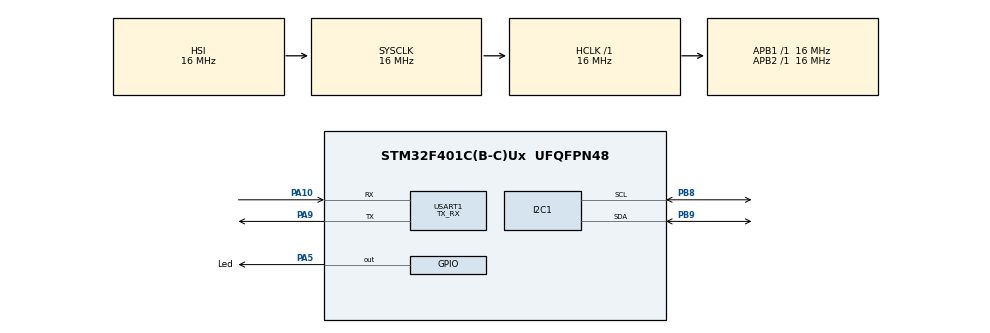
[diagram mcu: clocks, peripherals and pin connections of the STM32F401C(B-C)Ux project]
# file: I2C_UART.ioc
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I2C1.I2C_Mode=I2C_Standard
Mcu.Family=STM32F4
Mcu.Name=STM32F401C(B-C)Ux
Mcu.Package=UFQFPN48
NVIC.PriorityGroup=NVIC_PRIORITYGROUP_4
PA10.Mode=Asynchronous
PA10.Signal=USART1_RX
PA5.GPIO_Label=Led
PA5.Signal=GPIO_Output
PA9.Mode=Asynchronous
PA9.Signal=USART1_TX
PB8.Mode=I2C
PB8.Signal=I2C1_SCL
PB9.Mode=I2C
PB9.Signal=I2C1_SDA
ProjectManager.HeapSize=0x200
ProjectManager.StackSize=0x400
ProjectManager.TargetToolchain=STM32CubeIDE
RCC.48MHZClocksFreq_Value=48000000
RCC.AHBFreq_Value=16000000
RCC.APB1Freq_Value=16000000
RCC.APB1TimCLKDivider=1
RCC.APB1TimFreq_Value=16000000
RCC.APB2Freq_Value=16000000
RCC.APB2TimFreq_Value=16000000
RCC.CortexFreq_Value=16000000
RCC.HCLKFreq_Value=16000000
RCC.HSE_VALUE=25000000
RCC.HSI_VALUE=16000000
RCC.LSE_VALUE=32768
RCC.SYSCLKFreq_VALUE=16000000
RCC.VCOOutputFreq_Value=192000000
USART1.Mode=MODE_TX_RX
USART1.VirtualMode=VM_ASYNC
board=custom

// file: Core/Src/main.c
/* USER CODE BEGIN Header */
/**
  ******************************************************************************
  * @file           : main.c
  * @brief          : Main program body
  ******************************************************************************
  * @attention
  *
  * Copyright (c) 2024 STMicroelectronics.
  * All rights reserved.
  *
  * This software is licensed under terms that can be found in the LICENSE file
  * in the root directory of this software component.
  * If no LICENSE file comes with this software, it is provided AS-IS.
  *
  ******************************************************************************
  */
/* USER CODE END Header */
#include "main.h"

/* USER CODE BEGIN Includes */
#include <stdio.h>
#include <string.h>
/* USER CODE END Includes */

/* USER CODE BEGIN PD */
#define SI7021_ADDRESS 0x40
#define SI7021_MEASURE_TEMP_NO_HOLD 0xF3
#define SI7021_MEASURE_HUM_NO_HOLD 0xF5
#define led_GPIO_Port GPIOA
#define led_Pin GPIO_PIN_5
/* USER CODE END PD */

I2C_HandleTypeDef hi2c1;

UART_HandleTypeDef huart1;

/* USER CODE BEGIN PV */
char uartBuf[50];
/* USER CODE END PV */

void SystemClock_Config(void);
static void MX_GPIO_Init(void);
static void MX_I2C1_Init(void);
static void MX_USART1_UART_Init(void);
/* USER CODE BEGIN PFP */
float readTemperature(void);
float readHumidity(void);
void sendUARTData(float temp, float hum);
void sendSerialWordsAsFloat(void);
/* USER CODE END PFP */

int main(void)
{

  /* MCU Configuration--------------------------------------------------------*/

  /* Reset of all peripherals, Initializes the Flash interface and the Systick. */
  HAL_Init();

  /* Configure the system clock */
  SystemClock_Config();

  /* Initialize all configured peripherals */
  MX_GPIO_Init();
  MX_I2C1_Init();
  MX_USART1_UART_Init();

  /* Infinite loop */
  while (1)
  {

    /* USER CODE BEGIN 3 */
	    float temperature = readTemperature();
	    float humidity = readHumidity();
	    sendUARTData(temperature, humidity);

	    // Send the serial words as floats

	    HAL_Delay(1000); // 1 saniye bekle
	    HAL_GPIO_TogglePin(led_GPIO_Port, led_Pin);
  }
  /* USER CODE END 3 */
}

void SystemClock_Config(void)
{
  RCC_OscInitTypeDef RCC_OscInitStruct = {0};
  RCC_ClkInitTypeDef RCC_ClkInitStruct = {0};

  /** Configure the main internal regulator output voltage
  */
  __HAL_RCC_PWR_CLK_ENABLE();
  __HAL_PWR_VOLTAGESCALING_CONFIG(PWR_REGULATOR_VOLTAGE_SCALE2);

  /** Initializes the RCC Oscillators according to the specified parameters
  * in the RCC_OscInitTypeDef structure.
  */
  RCC_OscInitStruct.OscillatorType = RCC_OSCILLATORTYPE_HSI;
  RCC_OscInitStruct.HSIState = RCC_HSI_ON;
  RCC_OscInitStruct.HSICalibrationValue = RCC_HSICALIBRATION_DEFAULT;
  RCC_OscInitStruct.PLL.PLLState = RCC_PLL_NONE;
  if (HAL_RCC_OscConfig(&RCC_OscInitStruct) != HAL_OK)
  {
    Error_Handler();
  }

  /** Initializes the CPU, AHB and APB buses clocks
  */
  RCC_ClkInitStruct.ClockType = RCC_CLOCKTYPE_HCLK|RCC_CLOCKTYPE_SYSCLK
                              |RCC_CLOCKTYPE_PCLK1|RCC_CLOCKTYPE_PCLK2;
  RCC_ClkInitStruct.SYSCLKSource = RCC_SYSCLKSOURCE_HSI;
  RCC_ClkInitStruct.AHBCLKDivider = RCC_SYSCLK_DIV1;
  RCC_ClkInitStruct.APB1CLKDivider = RCC_HCLK_DIV1;
  RCC_ClkInitStruct.APB2CLKDivider = RCC_HCLK_DIV1;

  if (HAL_RCC_ClockConfig(&RCC_ClkInitStruct, FLASH_LATENCY_0) != HAL_OK)
  {
    Error_Handler();
  }
}

static void MX_I2C1_Init(void)
{

  hi2c1.Instance = I2C1;
  hi2c1.Init.ClockSpeed = 100000;
  hi2c1.Init.DutyCycle = I2C_DUTYCYCLE_2;
  hi2c1.Init.OwnAddress1 = 0;
  hi2c1.Init.AddressingMode = I2C_ADDRESSINGMODE_7BIT;
  hi2c1.Init.DualAddressMode = I2C_DUALADDRESS_DISABLE;
  hi2c1.Init.OwnAddress2 = 0;
  hi2c1.Init.GeneralCallMode = I2C_GENERALCALL_DISABLE;
  hi2c1.Init.NoStretchMode = I2C_NOSTRETCH_DISABLE;
  if (HAL_I2C_Init(&hi2c1) != HAL_OK)
  {
    Error_Handler();
  }

}

static void MX_USART1_UART_Init(void)
{

  huart1.Instance = USART1;
  huart1.Init.BaudRate = 115200;
  huart1.Init.WordLength = UART_WORDLENGTH_8B;
  huart1.Init.StopBits = UART_STOPBITS_1;
  huart1.Init.Parity = UART_PARITY_NONE;
  huart1.Init.Mode = UART_MODE_TX_RX;
  huart1.Init.HwFlowCtl = UART_HWCONTROL_NONE;
  huart1.Init.OverSampling = UART_OVERSAMPLING_16;
  if (HAL_UART_Init(&huart1) != HAL_OK)
  {
    Error_Handler();
  }

}

static void MX_GPIO_Init(void)
{
  GPIO_InitTypeDef GPIO_InitStruct = {0};

  /* GPIO Ports Clock Enable */
  __HAL_RCC_GPIOA_CLK_ENABLE();
  __HAL_RCC_GPIOB_CLK_ENABLE();

  /*Configure GPIO pin Output Level */
  HAL_GPIO_WritePin(Led_GPIO_Port, Led_Pin, GPIO_PIN_RESET);

  /*Configure GPIO pin : Led_Pin */
  GPIO_InitStruct.Pin = Led_Pin;
  GPIO_InitStruct.Mode = GPIO_MODE_OUTPUT_PP;
  GPIO_InitStruct.Pull = GPIO_NOPULL;
  GPIO_InitStruct.Speed = GPIO_SPEED_FREQ_LOW;
  HAL_GPIO_Init(Led_GPIO_Port, &GPIO_InitStruct);

}

/* USER CODE BEGIN 4 */
void sendUARTData(float temp, float hum) {
    sprintf(uartBuf, "Temp: %.2f C, Humidity: %.2f%%\r\n", temp, hum);
    HAL_UART_Transmit(&huart1, (uint8_t*)uartBuf, strlen(uartBuf), 10);
}

float readTemperature(void) {
    uint8_t tempCmd[1] = {SI7021_MEASURE_TEMP_NO_HOLD};
    uint8_t i2cBuf[2];

    HAL_I2C_Master_Transmit(&hi2c1, SI7021_ADDRESS<<1, tempCmd, 1, 10);
    HAL_Delay(50);
    HAL_I2C_Master_Receive(&hi2c1, SI7021_ADDRESS<<1 | 1, i2cBuf, 2, 10);

    uint16_t rawTemperature = (i2cBuf[0] << 8) | i2cBuf[1];
    float temperature = ((175.72 * rawTemperature) / 65536) - 46.85;

    return temperature;
}

float readHumidity(void) {
    uint8_t humCmd[1] = {SI7021_MEASURE_HUM_NO_HOLD};
    uint8_t i2cBuf[2];

    HAL_I2C_Master_Transmit(&hi2c1, SI7021_ADDRESS<<1, humCmd, 1, 10);
    HAL_Delay(50);
    HAL_I2C_Master_Receive(&hi2c1, SI7021_ADDRESS<<1 | 1, i2cBuf, 2, 10);

    uint16_t rawHumidity = (i2cBuf[0] << 8) | i2cBuf[1];
    float humidity = ((125.0 * rawHumidity) / 65536) - 6.0;

    return humidity;
}

void sendSerialWordsAsFloat(void) {
    uint32_t serialHighWord = 0x00807654;
    uint32_t serialLowWord = 0x15100112;

    float highFloat = *(float*)&serialHighWord;
    float lowFloat = *(float*)&serialLowWord;

    sprintf(uartBuf, "Serial High Word as float: %f\r\n", highFloat);
    HAL_UART_Transmit(&huart1, (uint8_t*)uartBuf, strlen(uartBuf), 10);

    sprintf(uartBuf, "Serial Low Word as float: %f\r\n", lowFloat);
    HAL_UART_Transmit(&huart1, (uint8_t*)uartBuf, strlen(uartBuf), 10);
}
/* USER CODE END 4 */

void Error_Handler(void)
{
  __disable_irq();
  while (1)
  {
  }
}
